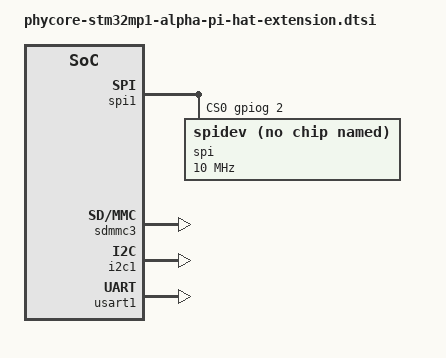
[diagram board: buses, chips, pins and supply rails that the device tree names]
// SPDX-License-Identifier: (GPL-2.0+ OR BSD-3-Clause)
/*
 * Copyright (C) PHYTEC GmbH 2019 - All Rights Reserved
 * Author: Dom VOVARD <dom.vovard@linrt.com>.
 */


&spi1 {
	cs-gpios = <&gpiog 2 0>;
       status = "okay";

	spi@0 {
                compatible = "linux,spidev";
                spi-max-frequency = <10000000>;
                reg = <0>;
        };
};

&sdmmc3 {
	status = "okay";
};

&i2c1 {
        status = "okay";
};

&usart1 {
        status = "okay";
};

